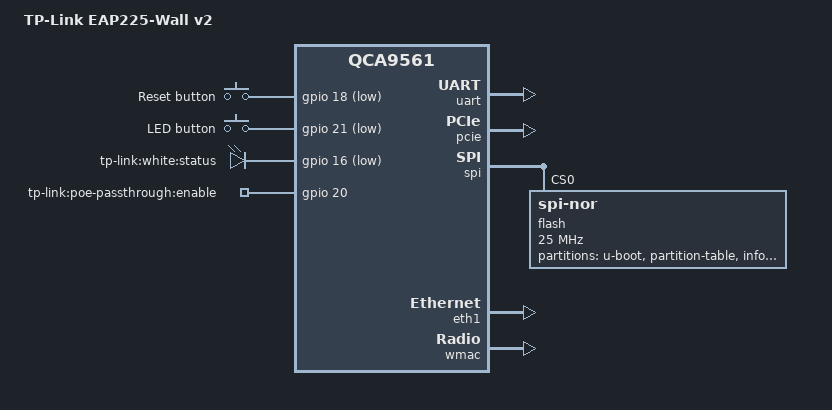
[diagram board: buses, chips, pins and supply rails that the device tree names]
// SPDX-License-Identifier: GPL-2.0-or-later OR MIT

#include "qca956x.dtsi"

#include <dt-bindings/gpio/gpio.h>
#include <dt-bindings/input/input.h>

/ {
	compatible = "tplink,eap225-wall-v2", "qca,qca9561";
	model = "TP-Link EAP225-Wall v2";

	aliases {
		label-mac-device = &eth1;
		led-boot = &led_status;
		led-failsafe = &led_status;
		led-running = &led_status;
		led-upgrade = &led_status;
	};

	keys {
		compatible = "gpio-keys";

		reset {
			label = "Reset button";
			linux,code = <KEY_RESTART>;
			gpios = <&gpio 18 GPIO_ACTIVE_LOW>;
			debounce-interval = <60>;
		};

		led {
			label = "LED button";
			linux,code = <KEY_LIGHTS_TOGGLE>;
			gpios = <&gpio 21 GPIO_ACTIVE_LOW>;
			debounce-interval = <60>;
		};
	};

	leds {
		compatible = "gpio-leds";

		led_status: status {
			label = "tp-link:white:status";
			gpios = <&gpio 16 GPIO_ACTIVE_LOW>;
			default-state = "on";
		};
	};

	gpio-export {
		compatible = "gpio-export";

		poe_passthrough {
			gpio-export,name = "tp-link:poe-passthrough:enable";
			gpio-export,output = <0>;
			gpios = <&gpio 20 GPIO_ACTIVE_HIGH>;
		};
	};
};

&uart {
	status = "okay";
};

&pcie {
	status = "okay";
};

&spi {
	status = "okay";
	num-cs = <1>;

	flash@0 {
		compatible = "jedec,spi-nor";
		reg = <0>;
		spi-max-frequency = <25000000>;

		partitions {
			compatible = "fixed-partitions";
			#address-cells = <1>;
			#size-cells = <1>;

			partition@0 {
				label = "u-boot";
				reg = <0x000000 0x020000>;
				read-only;
			};

			partition@20000 {
				label = "partition-table";
				reg = <0x020000 0x010000>;
				read-only;
			};

			info: partition@30000 {
				label = "info";
				reg = <0x030000 0x010000>;
				read-only;
			};

			partition@40000 {
				compatible = "openwrt,elf";
				label = "firmware";
				reg = <0x040000 0xd80000>;
			};

			partition@dc0000 {
				label = "config";
				reg = <0xdc0000 0x030000>;
				read-only;
			};

			/* df0000-f30000 undefined in vendor firmware */

			partition@f30000 {
				label = "mutil-log";
				reg = <0xf30000 0x080000>;
				read-only;
			};

			partition@fb0000 {
				label = "oops";
				reg = <0xfb0000 0x040000>;
				read-only;
			};

			art: partition@ff0000 {
				label = "art";
				reg = <0xff0000 0x010000>;
				read-only;
			};
		};
	};
};

&eth1 {
	status = "okay";

	mtd-mac-address = <&info 0x8>;
};

&wmac {
	status = "okay";

	mtd-cal-data = <&art 0x1000>;
	mtd-mac-address = <&info 0x8>;
};
